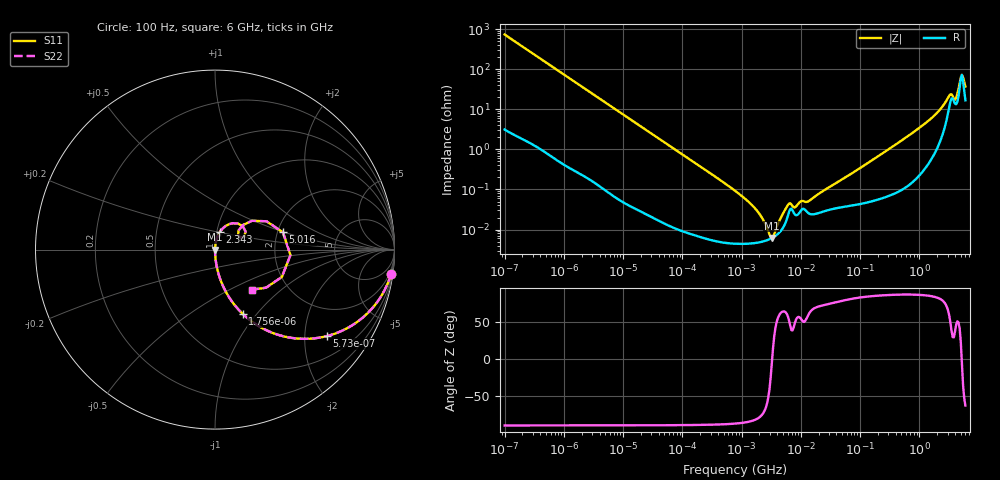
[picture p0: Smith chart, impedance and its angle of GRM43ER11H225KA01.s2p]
!Murata Part Number: GRM43ER11H225KA01
!These Parameters are Measured in Series Mode Connection
!Data Generated on Mar 30, 2021
!  o--ll--o
!Port1  Port2
!  o------o
!Operation Temp=25[degC], DC Bias Voltage=0[V]
!Freq. Start=100[Hz] Stop=6[GHz] 401[Steps]
# Hz S RI R 50
!Freq.(Hz) S11(Real) S11(Imag) S21(Real) S21(Imag) S12(Real) S12(Imag) S22(Real) S22(Imag)
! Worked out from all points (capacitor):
!   401 points, 100 Hz to 6 GHz, reference 50 ohm
!   read as one part in series: C = 2.16 uF near 109 Hz
!   lowest |Z| = 6.16 mohm at 3.246 MHz (marker M1)
!   series resonance near 3.283 MHz, so ESL is about 1.1 nH
!   S11 on the Smith chart (normalised r, x): 100 Hz: 1, -15; 573 Hz: 1.01, -2.58; 1.756 kHz: 1.01, -0.85; 2.343 GHz: 1.04, +0.21; 5.016 GHz: 2.14, +0.49; 6 GHz: 1.34, -0.66
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100  0.9813 -0.1333  0.0187 0.1333  0.0187 0.1333  0.9813 -0.1333
268  0.8823 -0.3196  0.1177 0.3196  0.1177 0.3196  0.8823 -0.3196
573  0.6243 -0.4815  0.3757 0.4815  0.3757 0.4815  0.6243 -0.4815
1756  0.1533 -0.3573  0.8467 0.3573  0.8467 0.3573  0.1533 -0.3573
2008  0.122 -0.3242  0.878 0.3242  0.878 0.3242  0.122 -0.3242
7036  0.0118 -0.1049  0.9882 0.1049  0.9882 0.1049  0.0118 -0.1049
40335  0.000513 -0.0186  0.9995 0.0186  0.9995 0.0186  0.000513 -0.0186
774597  4.52e-05 -0.00093  1 0.00093  1 0.00093  4.52e-05 -0.00093
1585629  4.58e-05 -0.000371  1 0.000371  1 0.000371  4.58e-05 -0.000371
2713602  5.46e-05 -9.1e-05  0.9999 9.1e-05  0.9999 9.1e-05  5.46e-05 -9.1e-05
3245845  6.14e-05 -5.4e-06  0.9999 5.4e-06  0.9999 5.4e-06  6.14e-05 -5.4e-06
3882480  7.27e-05 8.28e-05  0.9999 -8.28e-05  0.9999 -8.28e-05  7.27e-05 8.28e-05
6075234  0.000225 0.000346  0.9998 -0.000346  0.9998 -0.000346  0.000225 0.000346
7947587  0.000238 0.000269  0.9998 -0.000269  0.9998 -0.000269  0.000238 0.000269
1.555665e7  0.00024 0.000544  0.9998 -0.000544  0.9998 -0.000544  0.00024 0.000544
3.124326e8  0.000806 0.0103  0.9992 -0.0103  0.9992 -0.0103  0.000806 0.0103
2.34314e9  0.0287 0.1003  0.9713 -0.1003  0.9713 -0.1003  0.0287 0.1003
3.205649e9  0.127 0.1454  0.873 -0.1454  0.873 -0.1454  0.127 0.1454
4.009986e9  0.1285 0.0799  0.8715 -0.0799  0.8715 -0.0799  0.1285 0.0799
4.586474e9  0.2062 0.1605  0.7938 -0.1605  0.7938 -0.1605  0.2062 0.1605
5.016141e9  0.3788 0.0959  0.6212 -0.0959  0.6212 -0.0959  0.3788 0.0959
6e9  0.2064 -0.2231  0.7936 0.2231  0.7936 0.2231  0.2064 -0.2231
